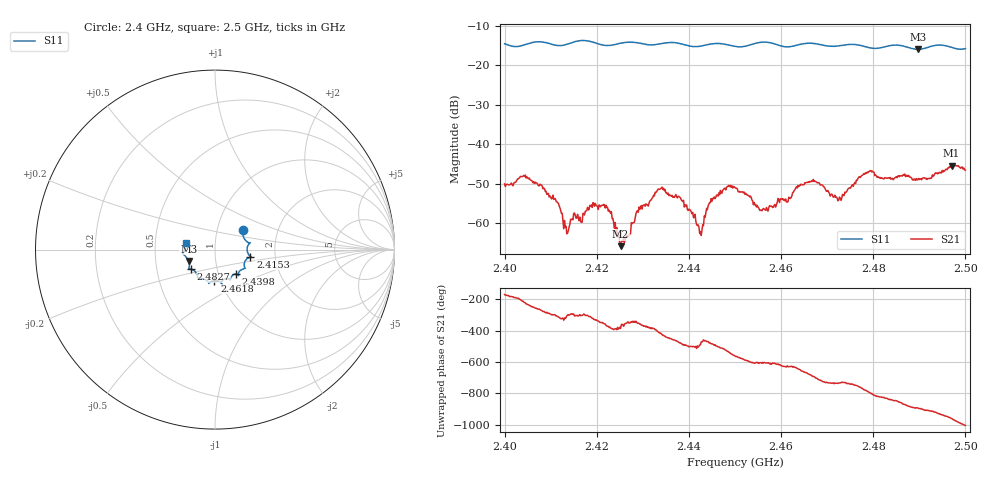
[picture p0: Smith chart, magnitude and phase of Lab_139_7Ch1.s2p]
# Hz S RI R 50
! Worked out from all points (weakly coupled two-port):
!   601 points, 2.4 GHz to 2.5 GHz, reference 50 ohm
!   highest |S21| = -45.37 dB at 2.497 GHz (marker M1); lowest = -65.8 dB at 2.4252 GHz (marker M2)
!   lowest |S11| = -15.9 dB at 2.4897 GHz (marker M3), VSWR 1.38, Z = 36.9 - j4.81 ohm
!   |S11| at or under -10 dB: start of sweep to end of sweep
!   S12 and S22 are empty: the file has one direction only
!   S11 on the Smith chart (normalised r, x): 2.4 GHz: 1.33, +0.29; 2.4153 GHz: 1.48, -0.12; 2.4398 GHz: 1.21, -0.34; 2.4618 GHz: 0.94, -0.33; 2.4827 GHz: 0.75, -0.17; 2.5 GHz: 0.72, +0.06
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2.4e9  0.1553 0.1069  -0.00309 -0.000634  0 0  0 0
2.4045e9  0.179 0.0429  -0.00305 0.0027  0 0  0 0
2.411e9  0.1805 0.0146  0.000994 0.0018  0 0  0 0
2.413333e9  0.1831 -0.0192  0.00066 0.000628  0 0  0 0
2.415333e9  0.197 -0.0393  0.000705 0.00104  0 0  0 0
2.416667e9  0.2027 -0.0435  0.000538 0.000875  0 0  0 0
2.421833e9  0.1684 -0.0626  0.00156 0.000102  0 0  0 0
2.425167e9  0.1648 -0.0977  0.000462 -0.000219  0 0  0 0
2.433333e9  0.1299 -0.1339  0.00184 -0.002  0 0  0 0
2.439833e9  0.1153 -0.1358  -0.00107 -0.000977  0 0  0 0
2.442667e9  0.0904 -0.1515  -0.000249 -0.000653  0 0  0 0
2.445e9  0.0839 -0.1682  -0.00104 -0.00159  0 0  0 0
2.45e9  0.0655 -0.162  -0.00263 0.00102  0 0  0 0
2.455833e9  0.0382 -0.1937  -0.000564 0.00132  0 0  0 0
2.461833e9  -0.00341 -0.1729  -3.48e-05 0.00211  0 0  0 0
2.466667e9  -0.0348 -0.1882  0.00291 0.00187  0 0  0 0
2.472667e9  -0.0777 -0.1601  0.00208 -0.000501  0 0  0 0
2.482667e9  -0.1351 -0.1086  -0.00135 -0.00352  0 0  0 0
2.483333e9  -0.1403 -0.1081  -0.00175 -0.00333  0 0  0 0
2.489667e9  -0.1467 -0.0635  -0.00352 -0.000396  0 0  0 0
2.497e9  -0.1697 -0.00747  -0.00271 0.00466  0 0  0 0
2.5e9  -0.1591 0.0385  0.00119 0.00456  0 0  0 0
